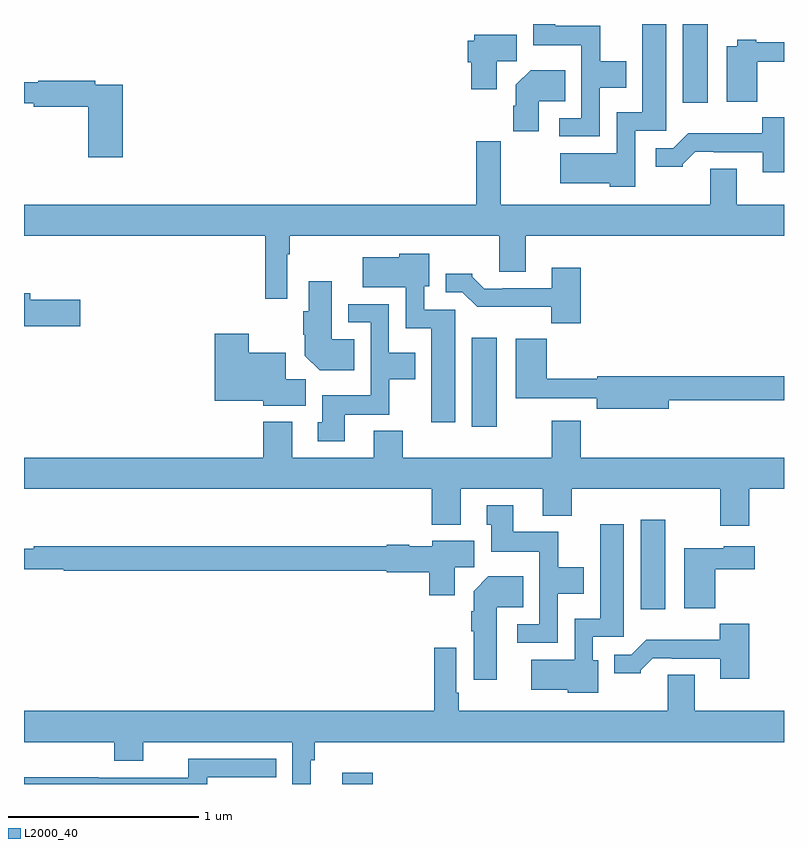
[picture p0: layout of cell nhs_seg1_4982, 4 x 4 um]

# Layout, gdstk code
import gdstk
lib = gdstk.Library(unit=1e-6, precision=1e-09)
def R(c, l, rs):  # rectangles x0, y0, x1, y1
    for r in rs: c.add(gdstk.rectangle(r[:2], r[2:], *l))
def P(c, l, *ps):  # polygons
    for p in ps: c.add(gdstk.Polygon(p, *l))
L2000_40 = (2000, 40)

nhs_seg1_4982 = lib.new_cell('nhs_seg1_4982')
R(nhs_seg1_4982, L2000_40, [(382.676,530.199,382.835,530.257), (384.245,531.12,384.376,531.589), (383.357,532.08,383.488,532.549), (384.467,533.784,384.598,534.199)])
P(nhs_seg1_4982, L2000_40, [(384.03,533.864),(384.169,533.864),(384.169,534.004),(384.033,534.004),(384.033,534.19),(383.797,534.19),(383.797,534.199),(383.681,534.199),(383.681,534.086),(383.934,534.086),(383.934,533.703),(383.817,533.703),(383.817,533.607),(384.03,533.607)],
  [(384.216,533.637),(384.379,533.637),(384.379,534.199),(384.254,534.199),(384.254,533.734),(384.12,533.734),(384.12,533.518),(383.823,533.518),(383.823,533.36),(384.084,533.36),(384.084,533.342),(384.216,533.342)],
  [(383.488,534.004),(383.593,534.004),(383.593,534.142),(383.37,534.142),(383.37,534.111),(383.336,534.111),(383.336,533.997),(383.354,533.997),(383.354,533.856),(383.488,533.856)],
  [(384.86,534.001),(385,534.001),(385,534.102),(384.853,534.102),(384.853,534.115),(384.753,534.115),(384.753,534.082),(384.698,534.082),(384.698,533.789),(384.86,533.789)],
  [(383.71,533.792),(383.849,533.792),(383.849,533.956),(383.666,533.956),(383.588,533.878),(383.588,533.768),(383.576,533.768),(383.576,533.634),(383.71,533.634)],
  [(381.521,533.88),(381.374,533.88),(381.374,533.9),(381.074,533.9),(381.074,533.893),(381,533.893),(381,533.783),(381.052,533.783),(381.052,533.764),(381.338,533.764),(381.338,533.499),(381.521,533.499)],
  [(385,533.707),(384.885,533.707),(384.885,533.623),(384.496,533.623),(384.417,533.544),(384.324,533.544),(384.324,533.447),(384.468,533.447),(384.468,533.462),(384.532,533.526),(384.631,533.526),(384.631,533.523),(384.887,533.523),(384.887,533.418),(385,533.418)],
  [(382.386,532.988),(382.399,532.988),(382.399,533.084),(383.501,533.084),(383.501,532.894),(383.641,532.894),(383.641,533.084),(385,533.084),(385,533.248),(384.751,533.248),(384.751,533.438),(384.611,533.438),(384.611,533.248),(383.509,533.248),(383.509,533.581),(383.38,533.581),(383.38,533.248),(381,533.248),(381,533.084),(382.27,533.084),(382.27,532.752),(382.386,532.752)],
  [(383.269,532.695),(383.106,532.695),(383.106,532.818),(383.134,532.818),(383.134,532.99),(382.974,532.99),(382.974,532.972),(382.782,532.972),(382.782,532.814),(383.01,532.814),(383.01,532.598),(383.144,532.598),(383.144,532.104),(383.269,532.104)],
  [(383.93,532.915),(383.777,532.915),(383.777,532.809),(383.521,532.809),(383.521,532.806),(383.422,532.806),(383.358,532.87),(383.358,532.885),(383.219,532.885),(383.219,532.788),(383.307,532.788),(383.386,532.71),(383.775,532.71),(383.775,532.625),(383.93,532.625)],
  [(382.739,532.54),(382.621,532.54),(382.621,532.846),(382.499,532.846),(382.499,532.686),(382.471,532.686),(382.471,532.564),(382.478,532.564),(382.478,532.454),(382.556,532.376),(382.739,532.376)],
  [(381.295,532.749),(381.034,532.749),(381.034,532.783),(381,532.783),(381,532.607),(381.295,532.607)],
  [(382.687,532.142),(382.923,532.142),(382.923,532.328),(383.059,532.328),(383.059,532.468),(382.92,532.468),(382.92,532.725),(382.707,532.725),(382.707,532.629),(382.824,532.629),(382.824,532.246),(382.571,532.246),(382.571,532.104),(382.547,532.104),(382.547,532.002),(382.687,532.002)],
  [(382.483,532.328),(382.378,532.328),(382.378,532.468),(382.182,532.468),(382.182,532.57),(382.004,532.57),(382.004,532.217),(382.26,532.217),(382.26,532.19),(382.483,532.19)],
  [(384.394,532.218),(385,532.218),(385,532.346),(384.018,532.346),(384.018,532.331),(383.75,532.331),(383.75,532.543),(383.588,532.543),(383.588,532.23),(384.014,532.23),(384.014,532.175),(384.394,532.175)],
  [(384.818,531.752),(385,531.752),(385,531.916),(383.93,531.916),(383.93,532.111),(383.777,532.111),(383.777,531.916),(382.994,531.916),(382.994,532.057),(382.841,532.057),(382.841,531.916),(382.411,531.916),(382.411,532.105),(382.259,532.105),(382.259,531.916),(381,531.916),(381,531.752),(383.147,531.752),(383.147,531.563),(383.299,531.563),(383.299,531.752),(383.729,531.752),(383.729,531.611),(383.882,531.611),(383.882,531.752),(384.665,531.752),(384.665,531.558),(384.818,531.558)],
  [(383.808,531.2),(383.947,531.2),(383.947,531.34),(383.811,531.34),(383.811,531.526),(383.575,531.526),(383.575,531.667),(383.435,531.667),(383.435,531.564),(383.459,531.564),(383.459,531.422),(383.712,531.422),(383.712,531.039),(383.595,531.039),(383.595,530.943),(383.808,530.943)],
  [(384.022,530.85),(383.994,530.85),(383.994,530.973),(384.157,530.973),(384.157,531.565),(384.032,531.565),(384.032,531.07),(383.898,531.07),(383.898,530.854),(383.67,530.854),(383.67,530.696),(383.862,530.696),(383.862,530.678),(384.022,530.678)],
  [(383.266,531.34),(383.371,531.34),(383.371,531.478),(383.148,531.478),(383.148,531.451),(383.028,531.451),(383.028,531.459),(382.908,531.459),(382.908,531.451),(381.052,531.451),(381.052,531.438),(381,531.438),(381,531.33),(381.208,531.33),(381.208,531.322),(382.908,531.322),(382.908,531.314),(383.132,531.314),(383.132,531.192),(383.266,531.192)],
  [(384.638,531.329),(384.847,531.329),(384.847,531.451),(384.684,531.451),(384.684,531.439),(384.476,531.439),(384.476,531.125),(384.638,531.125)],
  [(383.488,531.128),(383.627,531.128),(383.627,531.292),(383.444,531.292),(383.366,531.214),(383.366,531.107),(383.354,531.107),(383.354,531.004),(383.366,531.004),(383.366,530.748),(383.488,530.748)],
  [(384.818,531.043),(384.663,531.043),(384.663,530.959),(384.274,530.959),(384.195,530.88),(384.107,530.88),(384.107,530.783),(384.246,530.783),(384.246,530.798),(384.31,530.862),(384.409,530.862),(384.409,530.859),(384.665,530.859),(384.665,530.754),(384.818,530.754)],
  [(382.51,530.324),(382.529,530.324),(382.529,530.42),(385,530.42),(385,530.584),(384.529,530.584),(384.529,530.774),(384.389,530.774),(384.389,530.584),(383.287,530.584),(383.287,530.68),(383.274,530.68),(383.274,530.917),(383.158,530.917),(383.158,530.584),(381,530.584),(381,530.42),(381.476,530.42),(381.476,530.321),(381.628,530.321),(381.628,530.42),(382.413,530.42),(382.413,530.199),(382.51,530.199)],
  [(381.964,530.235),(382.328,530.235),(382.328,530.331),(381.865,530.331),(381.865,530.232),(381.392,530.232),(381.392,530.234),(381,530.234),(381,530.199),(381.964,530.199)])

lib.write_gds('nhs_seg1_4982.gds')
